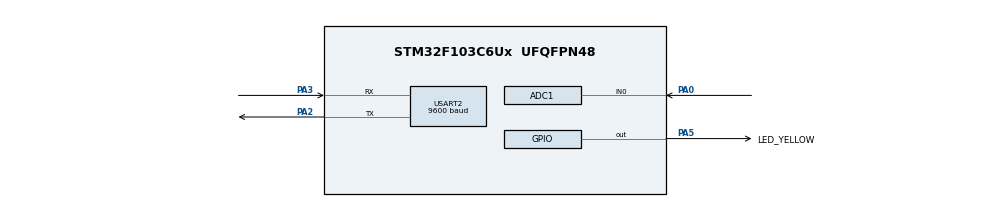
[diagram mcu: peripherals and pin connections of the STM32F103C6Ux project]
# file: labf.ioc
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ADC1.Channel-0\#ChannelRegularConversion=ADC_CHANNEL_0
ADC1.ContinuousConvMode=ENABLE
ADC1.NbrOfConversionFlag=1
ADC1.Rank-0\#ChannelRegularConversion=1
ADC1.SamplingTime-0\#ChannelRegularConversion=ADC_SAMPLETIME_1CYCLE_5
ADC1.master=1
Mcu.Family=STM32F1
Mcu.Name=STM32F103C6Ux
Mcu.Package=UFQFPN48
NVIC.PriorityGroup=NVIC_PRIORITYGROUP_4
NVIC.TIM2_IRQn=true\:0\:0\:false\:false\:true\:true\:true
NVIC.USART2_IRQn=true\:0\:0\:false\:false\:true\:true\:true
PA0-WKUP.Signal=ADCx_IN0
PA2.Mode=Asynchronous
PA2.Signal=USART2_TX
PA3.Mode=Asynchronous
PA3.Signal=USART2_RX
PA5.GPIO_Label=LED_YELLOW
PA5.Signal=GPIO_Output
ProjectManager.HeapSize=0x200
ProjectManager.StackSize=0x400
ProjectManager.TargetToolchain=STM32CubeIDE
RCC.APB1Freq_Value=8000000
RCC.APB2Freq_Value=8000000
SH.ADCx_IN0.0=ADC1_IN0,IN0
TIM2.Period=9
TIM2.Prescaler=7999
USART2.BaudRate=9600
USART2.VirtualMode=VM_ASYNC
VP_SYS_VS_ND.Mode=No_Debug
VP_TIM2_VS_ClockSourceINT.Mode=Internal
board=custom

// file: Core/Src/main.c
/* USER CODE BEGIN Header */
/**
  ******************************************************************************
  * @file           : main.c
  * @brief          : Main program body
  ******************************************************************************
  * @attention
  *
  * <h2><center>&copy; Copyright (c) 2023 STMicroelectronics.
  * All rights reserved.</center></h2>
  *
  * This software component is licensed by ST under BSD 3-Clause license,
  * the "License"; You may not use this file except in compliance with the
  * License. You may obtain a copy of the License at:
  *                        opensource.org/licenses/BSD-3-Clause
  *
  ******************************************************************************
  */
/* USER CODE END Header */
#include "main.h"
#include "global.h"

ADC_HandleTypeDef hadc1;

TIM_HandleTypeDef htim2;

UART_HandleTypeDef huart2;

void SystemClock_Config(void);
static void MX_GPIO_Init(void);
static void MX_ADC1_Init(void);
static void MX_USART2_UART_Init(void);
static void MX_TIM2_Init(void);

/* USER CODE BEGIN 0 */
#define MAX_BUFFER_SIZE  30

uint8_t buffer[MAX_BUFFER_SIZE];
uint8_t index_buffer = 0;
uint8_t buffer_flag = 0;
void HAL_UART_RxCpltCallback(UART_HandleTypeDef *huart){
	if(huart->Instance == USART2){

		buffer[index_buffer++] = temp;
		if(index_buffer == 30) index_buffer = 0;

		buffer_flag = 1;
		HAL_UART_Receive_IT(&huart2, &temp, 1);
	}
}

void HAL_TIM_PeriodElapsedCallback(TIM_HandleTypeDef *htim2){
	SCH_Update();
}
/* USER CODE END 0 */

int main(void)
{

  /* MCU Configuration--------------------------------------------------------*/

  /* Reset of all peripherals, Initializes the Flash interface and the Systick. */
  HAL_Init();

  /* Configure the system clock */
  SystemClock_Config();

  /* Initialize all configured peripherals */
  MX_GPIO_Init();
  MX_ADC1_Init();
  MX_USART2_UART_Init();
  MX_TIM2_Init();
  /* USER CODE BEGIN 2 */
  HAL_TIM_Base_Start_IT(&htim2);
   HAL_UART_Receive_IT(&huart2, &temp, 1);
    HAL_ADC_Start(&hadc1);
  /* USER CODE END 2 */

  /* Infinite loop */
  /* USER CODE BEGIN WHILE */
    status_cmd = WAIT_HEADER;
    status_communicate = WAIT_CMD_RST;
    void X(){
    	if (buffer_flag == 1){
    		 			  buffer_flag = 0;
    		 			  command_parser_fsm();
    		 		  }
    		 		  uart_communication_fsm();
    }
    SCH_Init();
    SCH_Add_Task(X, 0, 100);
  while (1)
  {

    /* USER CODE END WHILE */
SCH_Dispatch_Tasks();
  }
}

void SystemClock_Config(void)
{
  RCC_OscInitTypeDef RCC_OscInitStruct = {0};
  RCC_ClkInitTypeDef RCC_ClkInitStruct = {0};
  RCC_PeriphCLKInitTypeDef PeriphClkInit = {0};

  /** Initializes the RCC Oscillators according to the specified parameters
  * in the RCC_OscInitTypeDef structure.
  */
  RCC_OscInitStruct.OscillatorType = RCC_OSCILLATORTYPE_HSI;
  RCC_OscInitStruct.HSIState = RCC_HSI_ON;
  RCC_OscInitStruct.HSICalibrationValue = RCC_HSICALIBRATION_DEFAULT;
  RCC_OscInitStruct.PLL.PLLState = RCC_PLL_NONE;
  if (HAL_RCC_OscConfig(&RCC_OscInitStruct) != HAL_OK)
  {
    Error_Handler();
  }
  /** Initializes the CPU, AHB and APB buses clocks
  */
  RCC_ClkInitStruct.ClockType = RCC_CLOCKTYPE_HCLK|RCC_CLOCKTYPE_SYSCLK
                              |RCC_CLOCKTYPE_PCLK1|RCC_CLOCKTYPE_PCLK2;
  RCC_ClkInitStruct.SYSCLKSource = RCC_SYSCLKSOURCE_HSI;
  RCC_ClkInitStruct.AHBCLKDivider = RCC_SYSCLK_DIV1;
  RCC_ClkInitStruct.APB1CLKDivider = RCC_HCLK_DIV1;
  RCC_ClkInitStruct.APB2CLKDivider = RCC_HCLK_DIV1;

  if (HAL_RCC_ClockConfig(&RCC_ClkInitStruct, FLASH_LATENCY_0) != HAL_OK)
  {
    Error_Handler();
  }
  PeriphClkInit.PeriphClockSelection = RCC_PERIPHCLK_ADC;
  PeriphClkInit.AdcClockSelection = RCC_ADCPCLK2_DIV2;
  if (HAL_RCCEx_PeriphCLKConfig(&PeriphClkInit) != HAL_OK)
  {
    Error_Handler();
  }
}

static void MX_ADC1_Init(void)
{

  ADC_ChannelConfTypeDef sConfig = {0};

  /** Common config
  */
  hadc1.Instance = ADC1;
  hadc1.Init.ScanConvMode = ADC_SCAN_DISABLE;
  hadc1.Init.ContinuousConvMode = ENABLE;
  hadc1.Init.DiscontinuousConvMode = DISABLE;
  hadc1.Init.ExternalTrigConv = ADC_SOFTWARE_START;
  hadc1.Init.DataAlign = ADC_DATAALIGN_RIGHT;
  hadc1.Init.NbrOfConversion = 1;
  if (HAL_ADC_Init(&hadc1) != HAL_OK)
  {
    Error_Handler();
  }
  /** Configure Regular Channel
  */
  sConfig.Channel = ADC_CHANNEL_0;
  sConfig.Rank = ADC_REGULAR_RANK_1;
  sConfig.SamplingTime = ADC_SAMPLETIME_1CYCLE_5;
  if (HAL_ADC_ConfigChannel(&hadc1, &sConfig) != HAL_OK)
  {
    Error_Handler();
  }

}

static void MX_TIM2_Init(void)
{

  TIM_ClockConfigTypeDef sClockSourceConfig = {0};
  TIM_MasterConfigTypeDef sMasterConfig = {0};

  htim2.Instance = TIM2;
  htim2.Init.Prescaler = 7999;
  htim2.Init.CounterMode = TIM_COUNTERMODE_UP;
  htim2.Init.Period = 9;
  htim2.Init.ClockDivision = TIM_CLOCKDIVISION_DIV1;
  htim2.Init.AutoReloadPreload = TIM_AUTORELOAD_PRELOAD_DISABLE;
  if (HAL_TIM_Base_Init(&htim2) != HAL_OK)
  {
    Error_Handler();
  }
  sClockSourceConfig.ClockSource = TIM_CLOCKSOURCE_INTERNAL;
  if (HAL_TIM_ConfigClockSource(&htim2, &sClockSourceConfig) != HAL_OK)
  {
    Error_Handler();
  }
  sMasterConfig.MasterOutputTrigger = TIM_TRGO_RESET;
  sMasterConfig.MasterSlaveMode = TIM_MASTERSLAVEMODE_DISABLE;
  if (HAL_TIMEx_MasterConfigSynchronization(&htim2, &sMasterConfig) != HAL_OK)
  {
    Error_Handler();
  }

}

static void MX_USART2_UART_Init(void)
{

  huart2.Instance = USART2;
  huart2.Init.BaudRate = 9600;
  huart2.Init.WordLength = UART_WORDLENGTH_8B;
  huart2.Init.StopBits = UART_STOPBITS_1;
  huart2.Init.Parity = UART_PARITY_NONE;
  huart2.Init.Mode = UART_MODE_TX_RX;
  huart2.Init.HwFlowCtl = UART_HWCONTROL_NONE;
  huart2.Init.OverSampling = UART_OVERSAMPLING_16;
  if (HAL_UART_Init(&huart2) != HAL_OK)
  {
    Error_Handler();
  }

}

static void MX_GPIO_Init(void)
{
  GPIO_InitTypeDef GPIO_InitStruct = {0};

  /* GPIO Ports Clock Enable */
  __HAL_RCC_GPIOA_CLK_ENABLE();

  /*Configure GPIO pin Output Level */
  HAL_GPIO_WritePin(LED_YELLOW_GPIO_Port, LED_YELLOW_Pin, GPIO_PIN_RESET);

  /*Configure GPIO pin : LED_YELLOW_Pin */
  GPIO_InitStruct.Pin = LED_YELLOW_Pin;
  GPIO_InitStruct.Mode = GPIO_MODE_OUTPUT_PP;
  GPIO_InitStruct.Pull = GPIO_NOPULL;
  GPIO_InitStruct.Speed = GPIO_SPEED_FREQ_LOW;
  HAL_GPIO_Init(LED_YELLOW_GPIO_Port, &GPIO_InitStruct);

}

void Error_Handler(void)
{
  __disable_irq();
  while (1)
  {
  }
}

/************************ (C) COPYRIGHT STMicroelectronics *****END OF FILE****/
